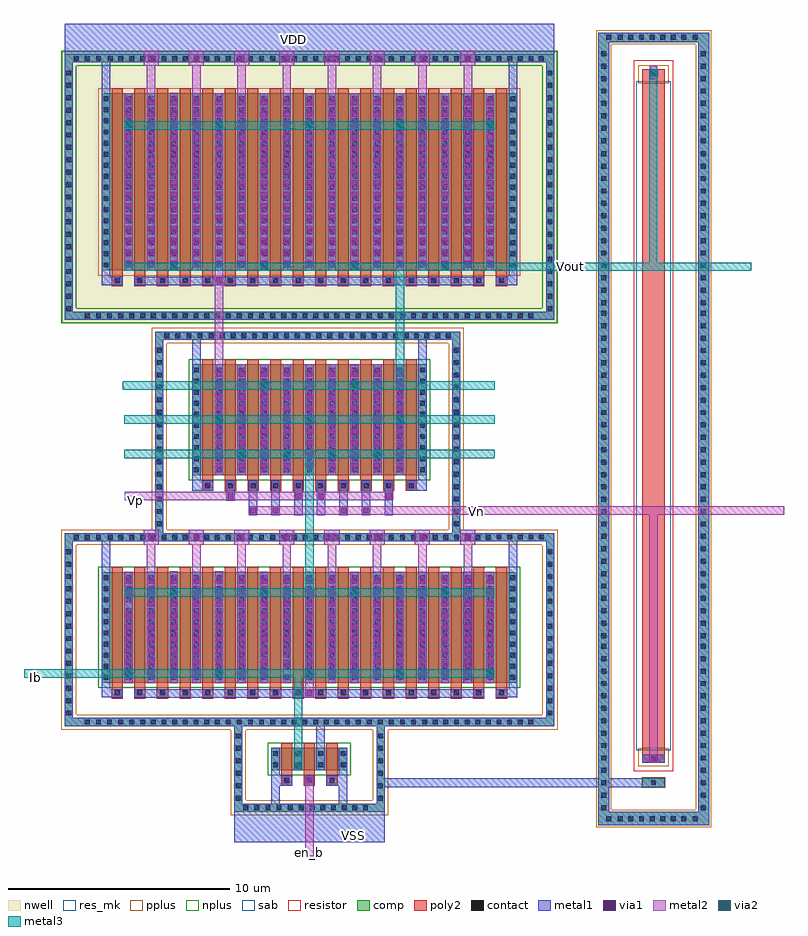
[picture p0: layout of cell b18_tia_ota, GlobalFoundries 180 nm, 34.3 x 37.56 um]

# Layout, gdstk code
from math import pi, radians
import gdstk
lib = gdstk.Library(unit=1e-6, precision=1e-09)
def R(c, l, rs):  # rectangles x0, y0, x1, y1
    for r in rs: c.add(gdstk.rectangle(r[:2], r[2:], *l))
def A(c, l, x, y, w, h, nx, ny, dx, dy):  # array of equal rectangles
    R(c, l, [(x+i*dx, y+j*dy, x+i*dx+w, y+j*dy+h) for i in range(nx) for j in range(ny)])
def P(c, l, *ps):  # polygons
    for p in ps: c.add(gdstk.Polygon(p, *l))
nwell = (21, 0)
comp = (22, 0)
poly2 = (30, 0)
pplus = (31, 0)
nplus = (32, 0)
contact = (33, 0)
metal1 = (34, 0)
via1 = (35, 0)
metal2 = (36, 0)
via2 = (38, 0)
metal3 = (42, 0)
sab = (49, 0)
resistor = (62, 0)
res_mk = (110, 5)

pfet = lib.new_cell('pfet')
R(pfet, nwell, [(-0.43,-0.43,19.15,8.43)])
R(pfet, comp, [(0,0,18.72,8)])
A(pfet, poly2, 0.44, -0.22, 0.5, 8.44, 18, 1, 1.02, 0)
R(pfet, pplus, [(-0.16,-0.23,18.88,8.23)])
A(pfet, contact, 0.07, 0.14, 0.22, 0.22, 19, 16, 1.02, 0.5)
A(pfet, metal1, -0.01, -0.01, 0.38, 8.02, 19, 1, 1.02, 0)

nfet_6 = lib.new_cell('nfet$6')
R(nfet_6, comp, [(0,0,3.42,1)])
A(nfet_6, poly2, 0.44, -0.22, 0.5, 1.44, 3, 1, 1.02, 0)
R(nfet_6, nplus, [(-0.16,-0.23,3.58,1.23)])
A(nfet_6, contact, 0.07, 0.14, 0.22, 0.22, 4, 2, 1.02, 0.5)
A(nfet_6, metal1, -0.01, -0.01, 0.38, 1.02, 4, 1, 1.02, 0)

nfet_4 = lib.new_cell('nfet$4')
R(nfet_4, comp, [(0,0,10.56,5)])
A(nfet_4, poly2, 0.44, -0.22, 0.5, 5.44, 10, 1, 1.02, 0)
R(nfet_4, nplus, [(-0.16,-0.23,10.72,5.23)])
A(nfet_4, contact, 0.07, 0.14, 0.22, 0.22, 11, 10, 1.02, 0.5)
A(nfet_4, metal1, -0.01, -0.01, 0.38, 5.02, 11, 1, 1.02, 0)

nfet = lib.new_cell('nfet')
R(nfet, comp, [(0,0,18.72,5)])
A(nfet, poly2, 0.44, -0.22, 0.5, 5.44, 18, 1, 1.02, 0)
R(nfet, nplus, [(-0.16,-0.23,18.88,5.23)])
A(nfet, contact, 0.07, 0.14, 0.22, 0.22, 19, 10, 1.02, 0.5)
A(nfet, metal1, -0.01, -0.01, 0.38, 5.02, 19, 1, 1.02, 0)

ppolyf_u_high_rs_resisto = lib.new_cell('ppolyf_u_high_Rs_resistor')
R(ppolyf_u_high_rs_resisto, comp, [(-1.76,0,-1.34,1)])
R(ppolyf_u_high_rs_resisto, poly2, [(-0.64,0,30.64,1)])
R(ppolyf_u_high_rs_resisto, pplus, [(-0.82,-0.18,0,1.18), (30,-0.18,30.82,1.18), (-1.78,-0.02,-1.32,1.02)])
R(ppolyf_u_high_rs_resisto, contact, [(-1.66,0.39,-1.44,0.61), (-0.57,0.39,-0.35,0.61), (30.35,0.39,30.57,0.61)])
R(ppolyf_u_high_rs_resisto, metal1, [(-1.74,0.31,-1.36,0.69), (-0.65,0.31,-0.27,0.69), (30.27,0.31,30.65,0.69)])
R(ppolyf_u_high_rs_resisto, sab, [(-0.1,-0.28,30.1,1.28)])
R(ppolyf_u_high_rs_resisto, resistor, [(-1.04,-0.4,31.04,1.4)])
R(ppolyf_u_high_rs_resisto, res_mk, [(0,0,30,1)])

b18_tia_ota = lib.new_cell('b18_tia_ota')
R(b18_tia_ota, nwell, [(40.7,25.81,63.02,38.04)])
P(b18_tia_ota, comp, [(64.89,3.13),(64.89,38.49),(65.39,38.49),(65.39,3.74),(69.41,3.74),(69.41,38.49),(64.89,38.49),(64.89,38.91),(69.9,38.91),(69.9,3.13)],
  [(48.47,3.74),(48.47,7.61),(48.83,7.61),(48.83,4.11),(54.89,4.11),(54.89,7.61),(40.82,7.61),(40.82,15.95),(41.18,15.95),(41.18,7.98),(62.54,7.98),(62.54,15.95),(40.82,15.95),(40.82,16.32),(44.905,16.32),(44.905,25.045),(45.265,25.045),(45.265,16.32),(58.315,16.32),(58.315,25.045),(44.905,25.045),(44.905,25.415),(58.675,25.415),(58.675,16.32),(62.9,16.32),(62.9,7.61),(55.25,7.61),(55.25,3.74)],
  [(40.82,25.94),(40.82,37.56),(41.18,37.56),(41.18,26.3),(62.54,26.3),(62.54,37.56),(40.82,37.56),(40.82,37.92),(62.9,37.92),(62.9,25.94)],
  [(47.74,16.335),(47.74,16.335),(47.74,16.335),(47.74,16.335)],
  [(47.74,37.94),(47.74,37.94),(47.74,37.94),(47.74,37.94)],
  [(51.825,25.43),(51.825,25.43),(51.825,25.43),(51.825,25.43)])
A(b18_tia_ota, poly2, 50.59, 4.91, 0.5, 0.49, 3, 1, 1.02, 0)
A(b18_tia_ota, poly2, 42.94, 8.85, 0.5, 0.49, 18, 2, 1.02, 18.61)
A(b18_tia_ota, poly2, 47.03, 18.22, 0.5, 0.49, 10, 1, 1.02, 0)
P(b18_tia_ota, pplus, [(64.8,3.04),(64.8,38.38),(65.49,38.38),(65.49,3.83),(69.3,3.83),(69.3,38.38),(64.8,38.38),(64.8,39.02),(69.99,39.02),(69.99,3.04)],
  [(48.31,3.58),(48.31,7.45),(48.99,7.45),(48.99,4.26),(54.73,4.26),(54.73,7.45),(40.66,7.45),(40.66,15.79),(41.34,15.79),(41.34,8.13),(62.38,8.13),(62.38,15.79),(40.66,15.79),(40.66,16.475),(41.34,16.475),(41.34,16.47),(44.745,16.47),(44.745,24.895),(45.425,24.895),(45.425,16.47),(58.155,16.47),(58.155,24.895),(44.745,24.895),(44.745,25.575),(58.835,25.575),(58.835,16.47),(63.06,16.47),(63.06,7.45),(55.41,7.45),(55.41,3.58)])
P(b18_tia_ota, nplus, [(40.66,25.78),(40.66,37.4),(41.34,37.4),(41.34,26.46),(62.38,26.46),(62.38,37.4),(40.66,37.4),(40.66,38.08),(63.06,38.08),(63.06,25.78)])
A(b18_tia_ota, contact, 65.78, 3.31, 0.22, 0.22, 4, 2, 0.48, 35.28)
A(b18_tia_ota, contact, 67.69, 3.31, 0.22, 0.22, 3, 2, 0.48, 35.28)
A(b18_tia_ota, contact, 65.04, 3.82, 0.22, 0.22, 1, 14, 0, 0.56)
A(b18_tia_ota, contact, 69.53, 3.82, 0.22, 0.22, 1, 14, 0, 0.56)
A(b18_tia_ota, contact, 48.54, 4.25, 0.22, 0.22, 1, 6, 0, 0.56)
A(b18_tia_ota, contact, 54.96, 4.25, 0.22, 0.22, 1, 6, 0, 0.56)
A(b18_tia_ota, contact, 50.73, 5.06, 0.22, 0.22, 3, 1, 1.02, 0)
A(b18_tia_ota, contact, 41.73, 7.685, 0.22, 0.22, 6, 2, 0.5, 18.325)
A(b18_tia_ota, contact, 44.71, 7.685, 0.22, 0.22, 7, 2, 0.48, 18.325)
A(b18_tia_ota, contact, 48.09, 7.685, 0.22, 0.22, 6, 2, 0.5, 18.325)
A(b18_tia_ota, contact, 51.07, 7.685, 0.22, 0.22, 7, 2, 0.48, 8.34)
A(b18_tia_ota, contact, 54.45, 7.685, 0.22, 0.22, 6, 2, 0.5, 8.34)
A(b18_tia_ota, contact, 57.43, 7.685, 0.22, 0.22, 7, 2, 0.48, 18.325)
A(b18_tia_ota, contact, 60.78, 7.685, 0.22, 0.22, 3, 2, 0.48, 18.325)
A(b18_tia_ota, contact, 40.89, 8.09, 0.22, 0.22, 1, 14, 0, 0.56)
A(b18_tia_ota, contact, 62.61, 8.09, 0.22, 0.22, 1, 14, 0, 0.56)
A(b18_tia_ota, contact, 43.08, 9, 0.22, 0.22, 18, 2, 1.02, 18.61)
A(b18_tia_ota, contact, 65.04, 11.58, 0.22, 0.22, 1, 13, 0, 0.56)
A(b18_tia_ota, contact, 69.53, 11.58, 0.22, 0.22, 1, 13, 0, 0.56)
A(b18_tia_ota, contact, 47.59, 16.025, 0.22, 0.22, 7, 2, 0.5, 21.605)
A(b18_tia_ota, contact, 57.43, 16.025, 0.22, 0.22, 6, 1, 0.48, 0)
A(b18_tia_ota, contact, 60.31, 16.03, 0.22, 0.22, 4, 1, 0.48, 0)
A(b18_tia_ota, contact, 44.975, 16.625, 0.22, 0.22, 1, 15, 0, 0.56)
A(b18_tia_ota, contact, 58.385, 16.625, 0.22, 0.22, 1, 15, 0, 0.56)
A(b18_tia_ota, contact, 47.17, 18.34, 0.22, 0.22, 10, 1, 1.02, 0)
A(b18_tia_ota, contact, 65.04, 18.85, 0.22, 0.22, 1, 14, 0, 0.56)
A(b18_tia_ota, contact, 69.52, 18.85, 0.22, 0.22, 1, 14, 0, 0.56)
A(b18_tia_ota, contact, 51.675, 25.12, 0.22, 0.22, 7, 1, 0.5, 0)
A(b18_tia_ota, contact, 55.155, 25.12, 0.22, 0.22, 3, 1, 0.48, 0)
A(b18_tia_ota, contact, 51.07, 26.01, 0.22, 0.22, 7, 2, 0.48, 11.62)
A(b18_tia_ota, contact, 54.45, 26.01, 0.22, 0.22, 6, 2, 0.5, 11.62)
A(b18_tia_ota, contact, 40.89, 26.335, 0.22, 0.22, 1, 20, 0, 0.56)
A(b18_tia_ota, contact, 62.61, 26.335, 0.22, 0.22, 1, 20, 0, 0.56)
A(b18_tia_ota, contact, 65.04, 26.61, 0.22, 0.22, 1, 13, 0, 0.56)
A(b18_tia_ota, contact, 69.52, 26.61, 0.22, 0.22, 1, 13, 0, 0.56)
A(b18_tia_ota, contact, 65.04, 33.92, 0.22, 0.22, 1, 7, 0, 0.56)
A(b18_tia_ota, contact, 69.52, 33.92, 0.22, 0.22, 1, 7, 0, 0.56)
A(b18_tia_ota, contact, 57.43, 37.63, 0.22, 0.22, 10, 1, 0.48, 0)
R(b18_tia_ota, contact, [(65.26,3.31,65.48,3.53), (69.16,3.31,69.38,3.53), (48.88,3.81,49.1,4.03), (48.88,3.81,49.1,4.03), (49.38,3.81,49.6,4.03), (49.38,3.81,49.6,4.03), (49.88,3.81,50.1,4.03), (49.88,3.81,50.1,4.03), (50.38,3.81,50.6,4.03), (50.38,3.81,50.6,4.03), (50.88,3.81,51.1,4.03), (50.88,3.81,51.1,4.03), (51.38,3.81,51.6,4.03), (51.38,3.81,51.6,4.03), (51.88,3.81,52.1,4.03), (51.88,3.81,52.1,4.03), (52.36,3.81,52.58,4.03), (52.36,3.81,52.58,4.03), (52.84,3.81,53.06,4.03), (52.84,3.81,53.06,4.03), (53.32,3.81,53.54,4.03), (53.32,3.81,53.54,4.03), (53.8,3.81,54.02,4.03), (53.8,3.81,54.02,4.03), (54.28,3.81,54.5,4.03), (54.28,3.81,54.5,4.03), (41.23,16.025,41.45,16.245), (41.23,16.025,41.45,16.245), (41.73,16.025,41.95,16.245), (41.73,16.025,41.95,16.245), (42.23,16.025,42.45,16.245), (42.23,16.025,42.45,16.245), (42.76,16.025,42.98,16.245), (43.23,16.025,43.45,16.245), (43.23,16.025,43.45,16.245), (43.73,16.025,43.95,16.245), (43.73,16.025,43.95,16.245), (44.23,16.025,44.45,16.245), (44.23,16.025,44.45,16.245), (44.71,16.025,44.93,16.245), (44.71,16.025,44.93,16.245), (45.19,16.025,45.41,16.245), (45.19,16.025,45.41,16.245), (45.67,16.025,45.89,16.245), (45.67,16.025,45.89,16.245), (46.15,16.025,46.37,16.245), (46.15,16.025,46.37,16.245), (46.63,16.025,46.85,16.245), (46.63,16.025,46.85,16.245), (47.11,16.025,47.33,16.245), (47.11,16.025,47.33,16.245), (62.22,16.03,62.44,16.25), (57.545,25.115,57.765,25.335), (58.025,25.115,58.245,25.335), (45.315,25.12,45.535,25.34), (45.315,25.12,45.535,25.34), (45.815,25.12,46.035,25.34), (45.815,25.12,46.035,25.34), (46.315,25.12,46.535,25.34), (46.315,25.12,46.535,25.34), (46.815,25.12,47.035,25.34), (46.815,25.12,47.035,25.34), (47.315,25.12,47.535,25.34), (47.315,25.12,47.535,25.34), (47.815,25.12,48.035,25.34), (47.815,25.12,48.035,25.34), (48.315,25.12,48.535,25.34), (48.315,25.12,48.535,25.34), (48.795,25.12,49.015,25.34), (48.795,25.12,49.015,25.34), (49.275,25.12,49.495,25.34), (49.275,25.12,49.495,25.34), (49.755,25.12,49.975,25.34), (49.755,25.12,49.975,25.34), (50.235,25.12,50.455,25.34), (50.235,25.12,50.455,25.34), (50.715,25.12,50.935,25.34), (50.715,25.12,50.935,25.34), (51.195,25.12,51.415,25.34), (51.195,25.12,51.415,25.34), (56.585,25.12,56.805,25.34), (57.055,25.12,57.275,25.34), (41.23,37.63,41.45,37.85), (41.23,37.63,41.45,37.85), (41.73,37.63,41.95,37.85), (41.73,37.63,41.95,37.85), (42.23,37.63,42.45,37.85), (42.23,37.63,42.45,37.85), (42.76,37.63,42.98,37.85), (43.23,37.63,43.45,37.85), (43.23,37.63,43.45,37.85), (43.73,37.63,43.95,37.85), (43.73,37.63,43.95,37.85), (44.23,37.63,44.45,37.85), (44.23,37.63,44.45,37.85), (44.71,37.63,44.93,37.85), (44.71,37.63,44.93,37.85), (45.19,37.63,45.41,37.85), (45.19,37.63,45.41,37.85), (45.67,37.63,45.89,37.85), (45.67,37.63,45.89,37.85), (46.15,37.63,46.37,37.85), (46.15,37.63,46.37,37.85), (46.63,37.63,46.85,37.85), (46.63,37.63,46.85,37.85), (47.11,37.63,47.33,37.85), (47.11,37.63,47.33,37.85), (62.22,37.63,62.44,37.85), (65.04,37.85,65.26,38.07), (69.52,37.85,69.74,38.07), (65.26,38.59,65.48,38.81), (69.16,38.59,69.38,38.81)])
A(b18_tia_ota, metal1, 50.15, 17.13, 0.38, 1.57, 4, 1, 1.02, 0)
R(b18_tia_ota, metal1, [(51.67,4.91,52.05,5.39), (66.89,5.95,67.89,6.32), (43.96,8.895,59.76,9.275), (49.12,17.13,49.5,18.7), (54.22,17.13,54.6,18.7), (55.25,17.13,55.63,18.7), (48.11,17.78,48.49,18.7), (43.96,27.51,59.76,27.89), (67.21,36.79,67.57,37.42)])
P(b18_tia_ota, metal1, [(48.47,2.36),(48.47,7.61),(52.56,7.61),(52.56,5.61),(52.18,5.61),(52.18,7.61),(48.83,7.61),(48.83,4.11),(50.14,4.11),(50.14,6.63),(50.52,6.63),(50.52,5.39),(51.09,5.39),(51.09,4.91),(50.52,4.91),(50.52,4.11),(53.19,4.11),(53.19,4.91),(52.63,4.91),(52.63,5.39),(53.19,5.39),(53.19,6.63),(53.58,6.63),(53.58,4.11),(54.89,4.11),(54.89,7.61),(40.82,7.61),(40.82,15.95),(61.23,15.95),(61.23,8.89),(60.78,8.89),(60.78,8.895),(60.28,8.895),(60.28,9.275),(60.85,9.275),(60.85,15.95),(42.87,15.95),(42.87,9.275),(43.44,9.275),(43.44,8.895),(42.94,8.895),(42.94,8.9),(42.49,8.9),(42.49,15.95),(41.18,15.95),(41.18,7.98),(62.54,7.98),(62.54,15.95),(40.82,15.95),(40.82,16.32),(44.905,16.32),(44.905,25.045),(57.155,25.045),(57.155,18.22),(56.275,18.22),(56.275,18.7),(56.775,18.7),(56.775,25.045),(46.955,25.045),(46.955,18.7),(47.525,18.7),(47.525,18.22),(46.575,18.22),(46.575,25.045),(45.265,25.045),(45.265,16.32),(58.315,16.32),(58.315,25.045),(44.905,25.045),(44.905,25.415),(58.675,25.415),(58.675,16.32),(62.9,16.32),(62.9,7.61),(55.25,7.61),(55.25,5.25),(64.89,5.25),(64.89,38.48),(65.39,38.48),(65.39,5.25),(67.89,5.25),(67.89,4.85),(65.39,4.85),(65.39,3.74),(69.41,3.74),(69.41,38.48),(64.89,38.48),(64.89,38.91),(69.9,38.91),(69.9,3.13),(64.89,3.13),(64.89,4.85),(55.25,4.85),(55.25,2.36)],
  [(40.82,25.94),(40.82,37.56),(61.23,37.56),(61.23,27.51),(60.28,27.51),(60.28,27.89),(60.85,27.89),(60.85,37.56),(42.87,37.56),(42.87,27.89),(43.44,27.89),(43.44,27.51),(42.49,27.51),(42.49,37.56),(41.18,37.56),(41.18,26.3),(62.54,26.3),(62.54,37.56),(40.82,37.56),(40.82,39.3),(62.9,39.3),(62.9,25.94)])
A(b18_tia_ota, via1, 43.57, 9.865, 0.26, 0.26, 7, 2, 1.02, 0.52)
A(b18_tia_ota, via1, 51.73, 9.865, 0.26, 0.26, 7, 2, 1.02, 0.52)
A(b18_tia_ota, via1, 58.88, 9.865, 0.26, 0.26, 1, 9, 0, 0.52)
A(b18_tia_ota, via1, 59.89, 9.865, 0.26, 0.26, 1, 9, 0, 0.52)
A(b18_tia_ota, via1, 43.57, 10.905, 0.26, 0.26, 15, 4, 1.02, 0.52)
A(b18_tia_ota, via1, 44.59, 12.985, 0.26, 0.26, 14, 1, 1.02, 0)
A(b18_tia_ota, via1, 43.57, 13.505, 0.26, 0.26, 15, 2, 1.02, 0.52)
A(b18_tia_ota, via1, 44.59, 16.005, 0.26, 0.26, 7, 2, 2.04, 21.605)
A(b18_tia_ota, via1, 47.655, 19.225, 0.26, 0.26, 9, 9, 1.02, 0.52)
A(b18_tia_ota, via1, 43.57, 28.35, 0.26, 0.26, 15, 15, 1.02, 0.52)
A(b18_tia_ota, via1, 58.88, 28.35, 0.26, 0.26, 1, 15, 0, 0.52)
A(b18_tia_ota, via1, 59.89, 28.35, 0.26, 0.26, 1, 15, 0, 0.52)
R(b18_tia_ota, via1, [(51.73,5.04,51.99,5.3), (51.21,5.72,51.47,5.98), (67.27,6.02,67.53,6.28), (51.21,6.24,51.47,6.5), (51.73,8.96,51.99,9.22), (43.57,9.865,43.83,10.125), (50.71,10.34,50.97,10.6), (58.88,16.005,59.14,16.265), (49.195,17.21,49.455,17.47), (50.205,17.21,50.465,17.47), (53.275,17.21,53.535,17.47), (54.285,17.21,54.545,17.47), (48.175,17.85,48.435,18.11), (51.225,17.85,51.485,18.11), (52.255,17.85,52.515,18.11), (55.315,17.85,55.575,18.11), (47.65,27.58,47.91,27.84), (67.26,36.93,67.52,37.19), (58.88,37.61,59.14,37.87)])
A(b18_tia_ota, metal2, 44.53, 9.55, 0.38, 6.24, 7, 1, 2.04, 0)
A(b18_tia_ota, metal2, 53.71, 9.55, 0.38, 5.02, 4, 1, 2.04, 0)
A(b18_tia_ota, metal2, 44.38, 15.79, 0.68, 0.68, 7, 2, 2.04, 21.61)
A(b18_tia_ota, metal2, 48.615, 18.92, 0.38, 5.01, 5, 1, 1.02, 0)
A(b18_tia_ota, metal2, 44.53, 28.16, 0.38, 9.24, 7, 1, 2.04, 0)
A(b18_tia_ota, metal2, 53.71, 28.16, 0.38, 8.02, 4, 1, 2.04, 0)
R(b18_tia_ota, metal2, [(51.67,1.74,52.05,5.33), (51.16,5.68,51.54,6.63), (51.67,8.895,52.05,14.57), (43.51,9.55,43.89,14.57), (45.55,9.55,45.93,14.59), (47.59,9.55,47.97,14.59), (49.63,9.55,50.01,14.55), (58.82,9.55,59.2,15.79), (58.67,15.79,59.35,16.47), (43.53,17.8,55.645,18.18), (53.715,18.92,54.095,23.92), (54.735,18.92,55.115,23.93), (55.755,18.92,56.135,23.94), (51.67,28.15,52.05,36.18), (43.51,28.16,43.89,36.18), (45.55,28.16,45.93,36.2), (49.63,28.16,50.01,36.16), (58.82,28.16,59.2,37.4), (67.21,36.79,67.57,37.42), (58.67,37.4,59.35,38.08)])
P(b18_tia_ota, metal2, [(67.2,5.97),(67.2,17.14),(49.14,17.14),(49.14,17.52),(73.28,17.52),(73.28,17.14),(67.58,17.14),(67.58,5.97)],
  [(47.59,18.92),(47.59,36.18),(47.97,36.18),(47.97,23.29),(47.975,23.29),(47.975,18.92)])
A(b18_tia_ota, via2, 43.57, 9.86, 0.26, 0.26, 5, 2, 4.08, 24.73)
A(b18_tia_ota, via2, 45.61, 13.505, 0.26, 0.26, 4, 2, 4.08, 14.695)
A(b18_tia_ota, via2, 48.675, 19.745, 0.26, 0.26, 4, 1, 2.04, 0)
R(b18_tia_ota, via2, [(51.21,5.72,51.47,5.98), (51.21,6.24,51.47,6.5), (47.655,21.3,47.915,21.56), (51.735,21.31,51.995,21.57), (55.815,21.31,56.075,21.57), (49.695,22.87,49.955,23.13), (53.775,22.87,54.035,23.13), (67.26,36.93,67.52,37.19)])
R(b18_tia_ota, metal3, [(43.515,21.25,60.215,21.63), (43.51,34.53,60.21,34.91)])
P(b18_tia_ota, metal3, [(43.44,22.79),(43.44,23.17),(55.76,23.17),(55.76,28.16),(43.51,28.16),(43.51,28.52),(67.2,28.52),(67.2,37.26),(67.57,37.26),(67.57,28.52),(71.81,28.52),(71.81,28.16),(56.13,28.16),(56.13,23.17),(60.215,23.17),(60.215,22.79)],
  [(43.51,13.44),(43.51,13.82),(51.675,13.82),(51.675,19.69),(43.515,19.69),(43.515,20.07),(60.215,20.07),(60.215,19.69),(52.055,19.69),(52.055,13.82),(60.21,13.82),(60.21,13.44)],
  [(51.17,5.62),(51.17,9.8),(38.98,9.8),(38.98,10.18),(60.21,10.18),(60.21,9.8),(51.54,9.8),(51.54,5.62)])
b18_tia_ota.add(gdstk.Reference(pfet, (42.5,36.17), x_reflection=True))
b18_tia_ota.add(gdstk.Reference(nfet_6, (50.15,6.62), x_reflection=True))
b18_tia_ota.add(gdstk.Reference(nfet_4, (46.585,23.93), x_reflection=True))
b18_tia_ota.add(gdstk.Reference(nfet, (42.5,14.56), x_reflection=True))
b18_tia_ota.add(gdstk.Reference(ppolyf_u_high_rs_resisto, (67.89,6.61), rotation=pi/2))
b18_tia_ota.add(gdstk.Label('Vout', (63.641,28.351), layer=42, texttype=10))
b18_tia_ota.add(gdstk.Label('Ib', (39.5,9.8), layer=42, texttype=10))
b18_tia_ota.add(gdstk.Label('VDD', (51.13,38.59), layer=34, texttype=10))
b18_tia_ota.add(gdstk.Label('VSS', (53.84,2.68), layer=34, texttype=10))
b18_tia_ota.add(gdstk.Label('en_b', (51.88,1.91), layer=36, texttype=10))
b18_tia_ota.add(gdstk.Label('Vn', (59.41,17.3), layer=36, texttype=10))
b18_tia_ota.add(gdstk.Label('Vp', (44.01,17.8), layer=36, texttype=10))

lib.write_gds('b18_tia_ota.gds')
